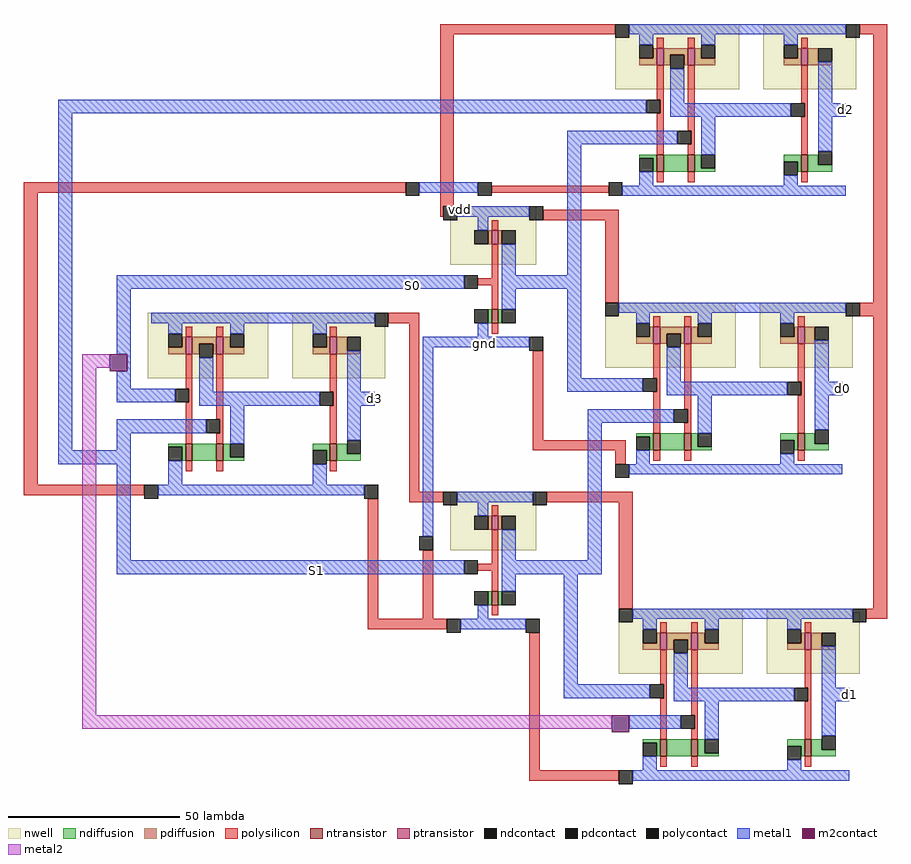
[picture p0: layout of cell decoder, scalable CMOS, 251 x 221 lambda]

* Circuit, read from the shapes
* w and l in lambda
.subckt decoder S0 S1 d0 d1 d2 d3 gnd vdd
M1 n1 S0 gnd VSUBS nfet w=5 l=2
M2 n2 S1 n1 VSUBS nfet w=5 l=2
M3 d3 n2 gnd VSUBS nfet w=5 l=2
M4 n3 S1 gnd VSUBS nfet w=4 l=2
M5 n4 S0 gnd VSUBS nfet w=4 l=2
M6 n5 n4 gnd VSUBS nfet w=5 l=2
M7 n6 S1 gnd VSUBS nfet w=5 l=2
M8 n7 n3 gnd VSUBS nfet w=5 l=2
M9 n8 n3 n5 VSUBS nfet w=5 l=2
M10 n9 n4 n6 VSUBS nfet w=5 l=2
M11 n10 S0 n7 VSUBS nfet w=5 l=2
M12 d0 n8 gnd VSUBS nfet w=5 l=2
M13 d2 n9 gnd VSUBS nfet w=5 l=2
M14 d1 n10 gnd VSUBS nfet w=5 l=2
M15 n2 S0 vdd n11 pfet w=5 l=2
M16 vdd S1 n2 n11 pfet w=5 l=2
M17 d3 n2 vdd n12 pfet w=5 l=2
M18 n3 S1 vdd n13 pfet w=4 l=2
M19 n4 S0 vdd n14 pfet w=4 l=2
M20 n8 n4 vdd n15 pfet w=5 l=2
M21 n9 S1 vdd n16 pfet w=5 l=2
M22 n10 n3 vdd n17 pfet w=5 l=2
M23 vdd n3 n8 n15 pfet w=5 l=2
M24 vdd n4 n9 n16 pfet w=5 l=2
M25 vdd S0 n10 n17 pfet w=5 l=2
M26 d0 n8 vdd n18 pfet w=5 l=2
M27 d2 n9 vdd n19 pfet w=5 l=2
M28 d1 n10 vdd n20 pfet w=5 l=2
.ends

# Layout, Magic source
magic
tech scmos
<< nwell >>
rect -410 -258 -374 -239
rect -367 -258 -340 -239
rect -458 -309 -433 -292
rect -546 -342 -511 -323
rect -504 -342 -477 -323
rect -413 -339 -375 -320
rect -368 -339 -341 -320
rect -458 -392 -433 -375
rect -409 -428 -373 -409
rect -366 -410 -341 -409
rect -366 -428 -339 -410
<< ntransistor >>
rect -398 -282 -396 -277
rect -389 -282 -387 -277
rect -356 -282 -354 -277
rect -446 -326 -444 -322
rect -535 -366 -533 -361
rect -526 -366 -524 -361
rect -493 -366 -491 -361
rect -399 -363 -397 -358
rect -390 -363 -388 -358
rect -357 -363 -355 -358
rect -446 -408 -444 -404
rect -397 -452 -395 -447
rect -388 -452 -386 -447
rect -355 -452 -353 -447
<< ptransistor >>
rect -398 -251 -396 -246
rect -389 -251 -387 -246
rect -356 -251 -354 -246
rect -446 -303 -444 -299
rect -535 -335 -533 -330
rect -526 -335 -524 -330
rect -493 -335 -491 -330
rect -399 -332 -397 -327
rect -390 -332 -388 -327
rect -357 -332 -355 -327
rect -446 -386 -444 -382
rect -397 -421 -395 -416
rect -388 -421 -386 -416
rect -355 -421 -353 -416
<< ndiffusion >>
rect -403 -278 -398 -277
rect -399 -282 -398 -278
rect -396 -282 -389 -277
rect -387 -281 -385 -277
rect -387 -282 -381 -281
rect -361 -279 -356 -277
rect -357 -282 -356 -279
rect -354 -280 -351 -277
rect -354 -282 -347 -280
rect -447 -326 -446 -322
rect -444 -326 -443 -322
rect -540 -362 -535 -361
rect -536 -366 -535 -362
rect -533 -366 -526 -361
rect -524 -365 -522 -361
rect -524 -366 -518 -365
rect -498 -363 -493 -361
rect -494 -366 -493 -363
rect -491 -364 -488 -361
rect -491 -366 -484 -364
rect -404 -359 -399 -358
rect -400 -363 -399 -359
rect -397 -363 -390 -358
rect -388 -362 -386 -358
rect -388 -363 -382 -362
rect -362 -360 -357 -358
rect -358 -363 -357 -360
rect -355 -361 -352 -358
rect -355 -363 -348 -361
rect -447 -408 -446 -404
rect -444 -408 -443 -404
rect -402 -448 -397 -447
rect -398 -452 -397 -448
rect -395 -452 -388 -447
rect -386 -451 -384 -447
rect -386 -452 -380 -451
rect -360 -449 -355 -447
rect -356 -452 -355 -449
rect -353 -450 -350 -447
rect -353 -452 -346 -450
<< pdiffusion >>
rect -399 -249 -398 -246
rect -403 -251 -398 -249
rect -396 -248 -389 -246
rect -396 -251 -394 -248
rect -390 -251 -389 -248
rect -387 -249 -385 -246
rect -387 -251 -381 -249
rect -357 -249 -356 -246
rect -361 -251 -356 -249
rect -354 -250 -351 -246
rect -354 -251 -347 -250
rect -447 -303 -446 -299
rect -444 -303 -443 -299
rect -536 -333 -535 -330
rect -540 -335 -535 -333
rect -533 -332 -526 -330
rect -533 -335 -531 -332
rect -527 -335 -526 -332
rect -524 -333 -522 -330
rect -524 -335 -518 -333
rect -494 -333 -493 -330
rect -498 -335 -493 -333
rect -491 -334 -488 -330
rect -491 -335 -484 -334
rect -400 -330 -399 -327
rect -404 -332 -399 -330
rect -397 -329 -390 -327
rect -397 -332 -395 -329
rect -391 -332 -390 -329
rect -388 -330 -386 -327
rect -388 -332 -382 -330
rect -358 -330 -357 -327
rect -362 -332 -357 -330
rect -355 -331 -352 -327
rect -355 -332 -348 -331
rect -447 -386 -446 -382
rect -444 -386 -443 -382
rect -398 -419 -397 -416
rect -402 -421 -397 -419
rect -395 -418 -388 -416
rect -395 -421 -393 -418
rect -389 -421 -388 -418
rect -386 -419 -384 -416
rect -386 -421 -380 -419
rect -356 -419 -355 -416
rect -360 -421 -355 -419
rect -353 -420 -350 -416
rect -353 -421 -346 -420
<< ndcontact >>
rect -403 -282 -399 -278
rect -385 -281 -381 -277
rect -361 -283 -357 -279
rect -351 -280 -347 -276
rect -451 -326 -447 -322
rect -443 -326 -439 -322
rect -540 -366 -536 -362
rect -522 -365 -518 -361
rect -498 -367 -494 -363
rect -488 -364 -484 -360
rect -404 -363 -400 -359
rect -386 -362 -382 -358
rect -362 -364 -358 -360
rect -352 -361 -348 -357
rect -451 -408 -447 -404
rect -443 -408 -439 -404
rect -402 -452 -398 -448
rect -384 -451 -380 -447
rect -360 -453 -356 -449
rect -350 -450 -346 -446
<< pdcontact >>
rect -403 -249 -399 -245
rect -394 -252 -390 -248
rect -385 -249 -381 -245
rect -361 -249 -357 -245
rect -351 -250 -347 -246
rect -451 -303 -447 -299
rect -443 -303 -439 -299
rect -540 -333 -536 -329
rect -531 -336 -527 -332
rect -522 -333 -518 -329
rect -498 -333 -494 -329
rect -488 -334 -484 -330
rect -404 -330 -400 -326
rect -395 -333 -391 -329
rect -386 -330 -382 -326
rect -362 -330 -358 -326
rect -352 -331 -348 -327
rect -451 -386 -447 -382
rect -443 -386 -439 -382
rect -402 -419 -398 -415
rect -393 -422 -389 -418
rect -384 -419 -380 -415
rect -360 -419 -356 -415
rect -350 -420 -346 -416
<< polysilicon >>
rect -461 -242 -410 -239
rect -582 -288 -471 -285
rect -582 -373 -578 -288
rect -461 -292 -457 -242
rect -339 -242 -331 -239
rect -398 -246 -396 -243
rect -389 -246 -387 -243
rect -398 -261 -396 -251
rect -356 -246 -354 -243
rect -397 -265 -396 -261
rect -398 -277 -396 -265
rect -389 -270 -387 -251
rect -356 -262 -354 -251
rect -355 -266 -354 -262
rect -388 -274 -387 -270
rect -389 -277 -387 -274
rect -356 -277 -354 -266
rect -398 -285 -396 -282
rect -389 -285 -387 -282
rect -356 -285 -354 -282
rect -446 -288 -412 -286
rect -461 -295 -460 -292
rect -431 -296 -409 -293
rect -446 -299 -444 -296
rect -446 -313 -444 -303
rect -450 -315 -444 -313
rect -446 -322 -444 -315
rect -413 -320 -409 -296
rect -335 -320 -331 -242
rect -476 -326 -467 -323
rect -339 -324 -331 -320
rect -535 -330 -533 -327
rect -526 -330 -524 -327
rect -535 -345 -533 -335
rect -493 -330 -491 -327
rect -534 -349 -533 -345
rect -535 -361 -533 -349
rect -526 -354 -524 -335
rect -493 -346 -491 -335
rect -492 -350 -491 -346
rect -525 -358 -524 -354
rect -526 -361 -524 -358
rect -493 -361 -491 -350
rect -535 -369 -533 -366
rect -526 -369 -524 -366
rect -493 -369 -491 -366
rect -582 -376 -547 -373
rect -482 -412 -479 -377
rect -470 -375 -467 -326
rect -446 -329 -444 -326
rect -399 -327 -397 -324
rect -390 -327 -388 -324
rect -434 -360 -431 -334
rect -399 -342 -397 -332
rect -357 -327 -355 -324
rect -398 -346 -397 -342
rect -399 -358 -397 -346
rect -390 -351 -388 -332
rect -357 -343 -355 -332
rect -356 -347 -355 -343
rect -389 -355 -388 -351
rect -390 -358 -388 -355
rect -357 -358 -355 -347
rect -434 -363 -407 -360
rect -410 -367 -407 -363
rect -399 -366 -397 -363
rect -390 -366 -388 -363
rect -357 -366 -355 -363
rect -470 -378 -460 -375
rect -430 -378 -405 -375
rect -446 -382 -444 -379
rect -466 -412 -463 -392
rect -446 -396 -444 -386
rect -450 -398 -444 -396
rect -446 -404 -444 -398
rect -446 -411 -444 -408
rect -409 -409 -405 -378
rect -335 -409 -331 -324
rect -482 -415 -459 -412
rect -337 -412 -331 -409
rect -435 -456 -432 -416
rect -397 -416 -395 -413
rect -388 -416 -386 -413
rect -397 -431 -395 -421
rect -355 -416 -353 -413
rect -396 -435 -395 -431
rect -397 -447 -395 -435
rect -388 -440 -386 -421
rect -355 -432 -353 -421
rect -354 -436 -353 -432
rect -387 -444 -386 -440
rect -388 -447 -386 -444
rect -355 -447 -353 -436
rect -397 -455 -395 -452
rect -388 -455 -386 -452
rect -355 -455 -353 -452
rect -435 -459 -409 -456
<< polycontact >>
rect -471 -289 -467 -285
rect -410 -243 -406 -239
rect -343 -243 -339 -239
rect -401 -265 -397 -261
rect -359 -266 -355 -262
rect -392 -274 -388 -270
rect -450 -289 -446 -285
rect -412 -289 -408 -285
rect -460 -296 -456 -292
rect -435 -296 -431 -292
rect -454 -316 -450 -312
rect -480 -327 -476 -323
rect -413 -324 -409 -320
rect -343 -324 -339 -320
rect -538 -349 -534 -345
rect -496 -350 -492 -346
rect -529 -358 -525 -354
rect -547 -377 -543 -373
rect -483 -377 -479 -373
rect -435 -334 -431 -330
rect -402 -346 -398 -342
rect -360 -347 -356 -343
rect -393 -355 -389 -351
rect -410 -371 -406 -367
rect -460 -379 -456 -375
rect -434 -379 -430 -375
rect -467 -392 -463 -388
rect -454 -399 -450 -395
rect -459 -416 -455 -412
rect -436 -416 -432 -412
rect -409 -413 -405 -409
rect -341 -413 -337 -409
rect -400 -435 -396 -431
rect -358 -436 -354 -432
rect -391 -444 -387 -440
rect -409 -460 -405 -456
<< metal1 >>
rect -406 -242 -343 -239
rect -403 -245 -399 -242
rect -385 -245 -381 -242
rect -361 -245 -357 -242
rect -572 -265 -401 -261
rect -394 -262 -390 -252
rect -351 -262 -347 -250
rect -572 -363 -568 -265
rect -394 -266 -359 -262
rect -351 -266 -343 -262
rect -424 -274 -392 -270
rect -467 -288 -450 -285
rect -456 -295 -435 -292
rect -450 -299 -447 -295
rect -443 -312 -439 -303
rect -424 -312 -420 -274
rect -385 -277 -381 -266
rect -351 -276 -347 -266
rect -403 -286 -399 -282
rect -361 -286 -357 -283
rect -408 -289 -343 -286
rect -555 -316 -454 -312
rect -443 -316 -420 -312
rect -555 -335 -551 -316
rect -443 -322 -439 -316
rect -545 -326 -480 -323
rect -540 -329 -536 -326
rect -522 -329 -518 -326
rect -552 -340 -551 -335
rect -555 -345 -551 -340
rect -498 -329 -494 -326
rect -450 -330 -447 -326
rect -555 -349 -538 -345
rect -531 -346 -527 -336
rect -488 -346 -484 -334
rect -466 -333 -435 -330
rect -531 -350 -496 -346
rect -488 -350 -480 -346
rect -555 -358 -529 -354
rect -555 -363 -551 -358
rect -522 -361 -518 -350
rect -572 -367 -551 -363
rect -555 -395 -551 -367
rect -488 -360 -484 -350
rect -540 -373 -536 -366
rect -498 -373 -494 -367
rect -543 -376 -483 -373
rect -466 -388 -463 -333
rect -424 -342 -420 -316
rect -409 -323 -343 -320
rect -404 -326 -400 -323
rect -386 -326 -382 -323
rect -362 -326 -358 -323
rect -424 -346 -402 -342
rect -395 -343 -391 -333
rect -352 -343 -348 -331
rect -395 -347 -360 -343
rect -352 -347 -344 -343
rect -418 -355 -393 -351
rect -456 -378 -434 -375
rect -450 -382 -447 -378
rect -443 -395 -439 -386
rect -418 -395 -414 -355
rect -386 -358 -382 -347
rect -352 -357 -348 -347
rect -404 -367 -400 -363
rect -362 -367 -358 -364
rect -406 -370 -344 -367
rect -555 -399 -454 -395
rect -443 -399 -414 -395
rect -443 -404 -439 -399
rect -450 -412 -447 -408
rect -455 -415 -436 -412
rect -425 -431 -421 -399
rect -405 -412 -341 -409
rect -402 -415 -398 -412
rect -384 -415 -380 -412
rect -360 -415 -356 -412
rect -425 -435 -400 -431
rect -393 -432 -389 -422
rect -350 -432 -346 -420
rect -393 -436 -358 -432
rect -350 -436 -342 -432
rect -406 -444 -391 -440
rect -384 -447 -380 -436
rect -350 -446 -346 -436
rect -402 -456 -398 -452
rect -360 -456 -356 -453
rect -405 -459 -342 -456
<< m2contact >>
rect -557 -340 -552 -335
rect -411 -445 -406 -440
<< metal2 >>
rect -565 -339 -557 -335
rect -565 -440 -561 -339
rect -565 -444 -411 -440
<< labels >>
rlabel metal1 -455 -293 -455 -293 4 vdd
rlabel metal1 -448 -332 -448 -332 1 gnd
rlabel metal1 -344 -347 -344 -343 1 d0
rlabel metal1 -343 -266 -343 -262 1 d2
rlabel metal1 -480 -350 -480 -346 1 d3
rlabel metal1 -342 -436 -342 -432 1 d1
rlabel metal1 -469 -315 -469 -315 1 S0
rlabel metal1 -497 -398 -497 -398 1 S1
<< end >>
